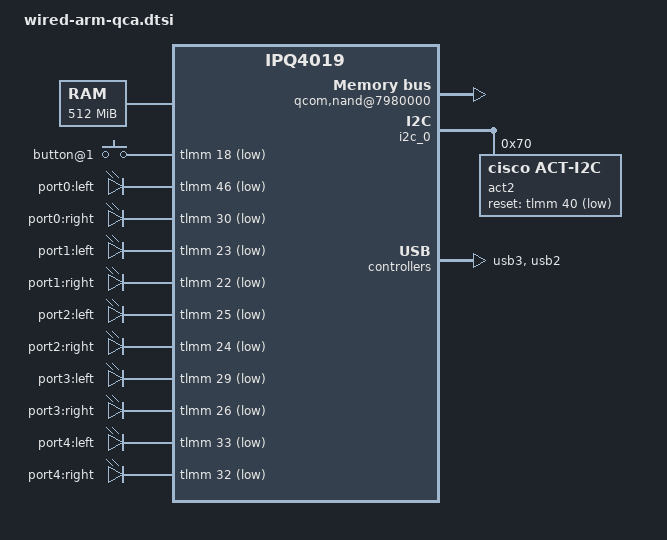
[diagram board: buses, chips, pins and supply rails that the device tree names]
/* Copyright (c) 2015, The Linux Foundation. All rights reserved.
 *
 * Permission to use, copy, modify, and/or distribute this software for any
 * purpose with or without fee is hereby granted, provided that the above
 * copyright notice and this permission notice appear in all copies.
 *
 * THE SOFTWARE IS PROVIDED "AS IS" AND THE AUTHOR DISCLAIMS ALL WARRANTIES
 * WITH REGARD TO THIS SOFTWARE INCLUDING ALL IMPLIED WARRANTIES OF
 * MERCHANTABILITY AND FITNESS. IN NO EVENT SHALL THE AUTHOR BE LIABLE FOR
 * ANY SPECIAL, DIRECT, INDIRECT, OR CONSEQUENTIAL DAMAGES OR ANY DAMAGES
 * WHATSOEVER RESULTING FROM LOSS OF USE, DATA OR PROFITS, WHETHER IN AN
 * ACTION OF CONTRACT, NEGLIGENCE OR OTHER TORTIOUS ACTION, ARISING OUT OF
 * OR IN CONNECTION WITH THE USE OR PERFORMANCE OF THIS SOFTWARE.
 *
 */

#include <dt-bindings/meraki/tam.h>
#include "qcom-ipq4019-ap.dk04.1.dtsi"

/ {
	soc {
		qcom,nand@7980000 {
			status = "ok";
		};

		qcom,msm_qpic@7980000 {
			status = "ok";
		};
	};

	memory {
		reg = <0x80000000 0x20000000>; /* 512 MiB */
		linux,usable-memory = <0x80000000 0x1FF00000>;
	};
};

&soc {
	gpio_keys {
		button@1 {
			gpios = <&tlmm 18 GPIO_ACTIVE_LOW>;
		};
	};

	leds {
		wan0_left {
			label = "port0:left";
			gpios = <&tlmm 46 GPIO_ACTIVE_LOW>;
			default-state = "off";
		};

		wan0_right {
			label = "port0:right";
			gpios = <&tlmm 30 GPIO_ACTIVE_LOW>;
			default-state = "off";
		};

		lan0_left {
			label = "port1:left";
			gpios = <&tlmm 23 GPIO_ACTIVE_LOW>;
			default-state = "off";
		};

		lan0_right {
			label = "port1:right";
			gpios = <&tlmm 22 GPIO_ACTIVE_LOW>;
			default-state = "off";
		};

		lan1_left {
			label = "port2:left";
			gpios = <&tlmm 25 GPIO_ACTIVE_LOW>;
			default-state = "off";
		};

		lan1_right {
			label = "port2:right";
			gpios = <&tlmm 24 GPIO_ACTIVE_LOW>;
			default-state = "off";
		};

		lan2_left {
			label = "port3:left";
			gpios = <&tlmm 29 GPIO_ACTIVE_LOW>;
			default-state = "off";
		};

		lan2_right {
			label = "port3:right";
			gpios = <&tlmm 26 GPIO_ACTIVE_LOW>;
			default-state = "off";
		};

		lan3_left {
			label = "port4:left";
			gpios = <&tlmm 33 GPIO_ACTIVE_LOW>;
			default-state = "off";
		};

		lan3_right {
			label = "port4:right";
			gpios = <&tlmm 32 GPIO_ACTIVE_LOW>;
			default-state = "off";
		};
	};

	i2c_0: i2c@78b7000 { /* BLSP1 QUP2 */
		act2@70 {
			compatible = "cisco,act-i2c";
			reg = <0x70>;
			write_buf_size = /bits/ 16 <259>;
			reset-gpios = <&tlmm 40 GPIO_ACTIVE_LOW>;
			chip_family = <TAM_FAMILY_ACT2>;
		};
	};

	i2c_1: i2c@78b8000 {
		lp5562 {
			enable-gpio = <&tlmm 48 GPIO_ACTIVE_HIGH>;
			chan0 {
				 chan-name = "tricolor0:red";
			};
			chan1 {
				 chan-name = "tricolor0:green";
			};
			chan2 {
				 chan-name = "tricolor0:blue";
			};
		};
	};

	pcie0: pci@40000000 {
		wake-gpio = <&tlmm 50 0>;
	};

	ess-switch@c000000 {
		switch_mac_mode = <0x0>; /* mac mode for PSGMII */
		switch_lan_bmp = <0x3c>; /* lan port bitmap */
		switch_wan_bmp = <0x02>; /* wan port bitmap */
	};

	ess_tcsr: ess_tcsr@1953000 {
		qcom,ess-interface-select = <TCSR_ESS_PSGMII>;
	};

	edma@c080000 {
        qcom,self_test;
		qcom,num-gmac = <5>;
		gmac0 {
			qcom,phy-mdio-addr = <0>;
			vlan-tag = <0 0x02>;
			qcom,poll-required = <1>;
		};
		gmac1 {
			qcom,phy-mdio-addr = <1>;
			vlan-tag = <0 0x04>;
			qcom,poll-required = <1>;
		};
		gmac2 {
			qcom,phy-mdio-addr = <2>;
			vlan-tag = <0 0x08>;
			qcom,poll-required = <1>;
		};
		gmac3 {
			qcom,phy-mdio-addr = <3>;
			vlan-tag = <0 0x10>;
			qcom,poll-required = <1>;
		};
		gmac4 {
			qcom,phy-mdio-addr = <4>;
			vlan-tag = <0 0x20>;
			qcom,poll-required = <1>;
		};
	};

	spi_0: spi@78b5000 {
		status = "disabled";
	};

	qcom: ledc@1937000  {
		status = "disabled";
	};

	usb3_ss_phy: ssphy@0 {
		status = "ok";
	};

	dummy_ss_phy: ssphy@1 {
		status = "ok";
	};

	usb3_hs_phy: hsphy@a6000 {
		status = "ok";
	};

	usb2_hs_phy: hsphy@a8000 {
		status = "ok";
	};

	usb3: usb3@8a00000 {
		status = "ok";
	};

	usb2: usb2@6000000 {
		status = "ok";
	};
};
